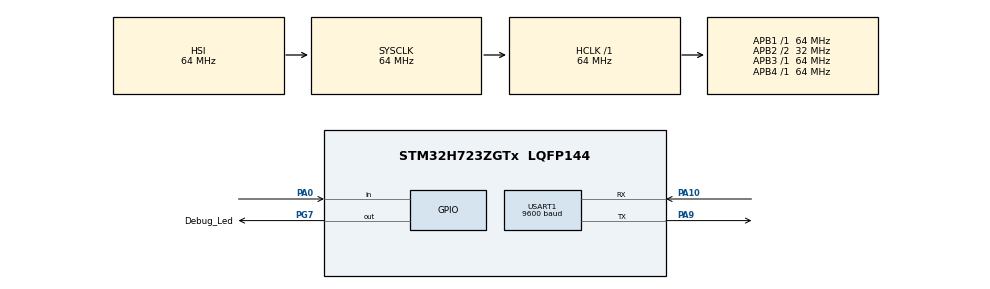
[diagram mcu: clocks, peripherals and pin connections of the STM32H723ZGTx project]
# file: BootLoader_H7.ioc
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CORTEX_M7.default_mode_Activation=1
Mcu.Family=STM32H7
Mcu.Name=STM32H723ZGTx
Mcu.Package=LQFP144
NVIC.PriorityGroup=NVIC_PRIORITYGROUP_4
PA0.GPIO_PuPd=GPIO_PULLUP
PA0.Signal=GPIO_Input
PA10.Mode=Asynchronous
PA10.Signal=USART1_RX
PA13(JTMS/SWDIO).Mode=Serial_Wire
PA13(JTMS/SWDIO).Signal=DEBUG_JTMS-SWDIO
PA14(JTCK/SWCLK).Mode=Serial_Wire
PA14(JTCK/SWCLK).Signal=DEBUG_JTCK-SWCLK
PA9.Mode=Asynchronous
PA9.Signal=USART1_TX
PG7.GPIO_Label=Debug_Led
PG7.Signal=GPIO_Output
ProjectManager.HeapSize=0x200
ProjectManager.StackSize=0x400
ProjectManager.TargetToolchain=CMake
RCC.ADCFreq_Value=129000000
RCC.APB1Freq_Value=64000000
RCC.APB2Freq_Value=32000000
RCC.APB3Freq_Value=64000000
RCC.APB4Freq_Value=64000000
RCC.CortexFreq_Value=64000000
RCC.D2PPRE2=RCC_APB2_DIV2
RCC.HCLKFreq_Value=64000000
RCC.SYSCLKFreq_VALUE=64000000
RCC.USBFreq_Value=129000000
USART1.BaudRate=9600
USART1.VirtualMode-Asynchronous=VM_ASYNC
VP_MEMORYMAP_VS_MEMORYMAP.Mode=CurAppReg
board=custom

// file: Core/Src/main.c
/* USER CODE BEGIN Header */
/**
  ******************************************************************************
  * @file           : main.c
  * @brief          : Main program body
  ******************************************************************************
  * @attention
  *
  * Copyright (c) 2025 STMicroelectronics.
  * All rights reserved.
  *
  * This software is licensed under terms that can be found in the LICENSE file
  * in the root directory of this software component.
  * If no LICENSE file comes with this software, it is provided AS-IS.
  *
  ******************************************************************************
  */
/* USER CODE END Header */
#include "main.h"

UART_HandleTypeDef huart1;

void SystemClock_Config(void);
static void MPU_Config(void);
static void MX_GPIO_Init(void);
static void MX_USART1_UART_Init(void);
/* USER CODE BEGIN PFP */
int _write(int fd, char *ptr, int len) {
	HAL_StatusTypeDef hstatus;

	if (fd == 1 || fd == 2) {
		hstatus = HAL_UART_Transmit(&huart1, (uint8_t*) ptr, len,HAL_MAX_DELAY);
		if (hstatus == HAL_OK)
			return len;
		else
			return -1;
	}
	return -1;
}
/* USER CODE END PFP */

/* USER CODE BEGIN 0 */
#define ADDR_APP_PROGRAM 0x8000000
typedef void (*pFunction)(void);

void app(){
  HAL_RCC_DeInit();
  HAL_DeInit();
  // SCB->SHCSR &= ~(SCB_SHCSR_BUSFAULTENA_Msk |
  //                 SCB_SHCSR_USGFAULTENA_Msk |
  //                 SCB_SHCSR_MEMFAULTENA_Msk );
  __set_MSP(*(__IO uint32_t*)ADDR_APP_PROGRAM);
  pFunction RS_handler = (pFunction) (*(__IO uint32_t*) (ADDR_APP_PROGRAM + 4));
  RS_handler();
}
/* USER CODE END 0 */

int main(void)
{

  /* MPU Configuration--------------------------------------------------------*/
  MPU_Config();

  /* MCU Configuration--------------------------------------------------------*/

  /* Reset of all peripherals, Initializes the Flash interface and the Systick. */
  HAL_Init();

  /* Configure the system clock */
  SystemClock_Config();

  /* Initialize all configured peripherals */
  MX_GPIO_Init();
  MX_USART1_UART_Init();

  /* Infinite loop */
  /* USER CODE BEGIN WHILE */
  uint32_t now = 0; uint32_t next_tick = 1000;
  while (1)
  {
    now = uwTick;
    if(HAL_GPIO_ReadPin(GPIOA,GPIO_PIN_0) == 0){
      app();
    }
    //HAL_UART_Transmit(&huart2, str, 20,HAL_MAX_DELAY);
    if(now > next_tick){
      printf("\n\n\n-----------\nAplication\n");
      next_tick += 1000;
    }
    /* USER CODE END WHILE */

  }
}

void SystemClock_Config(void)
{
  RCC_OscInitTypeDef RCC_OscInitStruct = {0};
  RCC_ClkInitTypeDef RCC_ClkInitStruct = {0};

  /** Supply configuration update enable
  */
  HAL_PWREx_ConfigSupply(PWR_LDO_SUPPLY);

  /** Configure the main internal regulator output voltage
  */
  __HAL_PWR_VOLTAGESCALING_CONFIG(PWR_REGULATOR_VOLTAGE_SCALE3);

  while(!__HAL_PWR_GET_FLAG(PWR_FLAG_VOSRDY)) {}

  /** Initializes the RCC Oscillators according to the specified parameters
  * in the RCC_OscInitTypeDef structure.
  */
  RCC_OscInitStruct.OscillatorType = RCC_OSCILLATORTYPE_HSI;
  RCC_OscInitStruct.HSIState = RCC_HSI_DIV1;
  RCC_OscInitStruct.HSICalibrationValue = 64;
  RCC_OscInitStruct.PLL.PLLState = RCC_PLL_NONE;
  if (HAL_RCC_OscConfig(&RCC_OscInitStruct) != HAL_OK)
  {
    Error_Handler();
  }

  /** Initializes the CPU, AHB and APB buses clocks
  */
  RCC_ClkInitStruct.ClockType = RCC_CLOCKTYPE_HCLK|RCC_CLOCKTYPE_SYSCLK
                              |RCC_CLOCKTYPE_PCLK1|RCC_CLOCKTYPE_PCLK2
                              |RCC_CLOCKTYPE_D3PCLK1|RCC_CLOCKTYPE_D1PCLK1;
  RCC_ClkInitStruct.SYSCLKSource = RCC_SYSCLKSOURCE_HSI;
  RCC_ClkInitStruct.SYSCLKDivider = RCC_SYSCLK_DIV1;
  RCC_ClkInitStruct.AHBCLKDivider = RCC_HCLK_DIV1;
  RCC_ClkInitStruct.APB3CLKDivider = RCC_APB3_DIV1;
  RCC_ClkInitStruct.APB1CLKDivider = RCC_APB1_DIV1;
  RCC_ClkInitStruct.APB2CLKDivider = RCC_APB2_DIV2;
  RCC_ClkInitStruct.APB4CLKDivider = RCC_APB4_DIV1;

  if (HAL_RCC_ClockConfig(&RCC_ClkInitStruct, FLASH_LATENCY_1) != HAL_OK)
  {
    Error_Handler();
  }
}

static void MX_USART1_UART_Init(void)
{

  huart1.Instance = USART1;
  huart1.Init.BaudRate = 9600;
  huart1.Init.WordLength = UART_WORDLENGTH_8B;
  huart1.Init.StopBits = UART_STOPBITS_1;
  huart1.Init.Parity = UART_PARITY_NONE;
  huart1.Init.Mode = UART_MODE_TX_RX;
  huart1.Init.HwFlowCtl = UART_HWCONTROL_NONE;
  huart1.Init.OverSampling = UART_OVERSAMPLING_16;
  huart1.Init.OneBitSampling = UART_ONE_BIT_SAMPLE_DISABLE;
  huart1.Init.ClockPrescaler = UART_PRESCALER_DIV1;
  huart1.AdvancedInit.AdvFeatureInit = UART_ADVFEATURE_NO_INIT;
  if (HAL_UART_Init(&huart1) != HAL_OK)
  {
    Error_Handler();
  }
  if (HAL_UARTEx_SetTxFifoThreshold(&huart1, UART_TXFIFO_THRESHOLD_1_8) != HAL_OK)
  {
    Error_Handler();
  }
  if (HAL_UARTEx_SetRxFifoThreshold(&huart1, UART_RXFIFO_THRESHOLD_1_8) != HAL_OK)
  {
    Error_Handler();
  }
  if (HAL_UARTEx_DisableFifoMode(&huart1) != HAL_OK)
  {
    Error_Handler();
  }

}

static void MX_GPIO_Init(void)
{
  GPIO_InitTypeDef GPIO_InitStruct = {0};

  /* GPIO Ports Clock Enable */
  __HAL_RCC_GPIOA_CLK_ENABLE();
  __HAL_RCC_GPIOG_CLK_ENABLE();

  /*Configure GPIO pin Output Level */
  HAL_GPIO_WritePin(Debug_Led_GPIO_Port, Debug_Led_Pin, GPIO_PIN_RESET);

  /*Configure GPIO pin : PA0 */
  GPIO_InitStruct.Pin = GPIO_PIN_0;
  GPIO_InitStruct.Mode = GPIO_MODE_INPUT;
  GPIO_InitStruct.Pull = GPIO_PULLUP;
  HAL_GPIO_Init(GPIOA, &GPIO_InitStruct);

  /*Configure GPIO pin : Debug_Led_Pin */
  GPIO_InitStruct.Pin = Debug_Led_Pin;
  GPIO_InitStruct.Mode = GPIO_MODE_OUTPUT_PP;
  GPIO_InitStruct.Pull = GPIO_NOPULL;
  GPIO_InitStruct.Speed = GPIO_SPEED_FREQ_LOW;
  HAL_GPIO_Init(Debug_Led_GPIO_Port, &GPIO_InitStruct);

}

 /* MPU Configuration */

void MPU_Config(void)
{
  MPU_Region_InitTypeDef MPU_InitStruct = {0};

  /* Disables the MPU */
  HAL_MPU_Disable();

  /** Initializes and configures the Region and the memory to be protected
  */
  MPU_InitStruct.Enable = MPU_REGION_ENABLE;
  MPU_InitStruct.Number = MPU_REGION_NUMBER0;
  MPU_InitStruct.BaseAddress = 0x0;
  MPU_InitStruct.Size = MPU_REGION_SIZE_4GB;
  MPU_InitStruct.SubRegionDisable = 0x87;
  MPU_InitStruct.TypeExtField = MPU_TEX_LEVEL0;
  MPU_InitStruct.AccessPermission = MPU_REGION_NO_ACCESS;
  MPU_InitStruct.DisableExec = MPU_INSTRUCTION_ACCESS_DISABLE;
  MPU_InitStruct.IsShareable = MPU_ACCESS_SHAREABLE;
  MPU_InitStruct.IsCacheable = MPU_ACCESS_NOT_CACHEABLE;
  MPU_InitStruct.IsBufferable = MPU_ACCESS_NOT_BUFFERABLE;

  HAL_MPU_ConfigRegion(&MPU_InitStruct);
  /* Enables the MPU */
  HAL_MPU_Enable(MPU_PRIVILEGED_DEFAULT);

}

void Error_Handler(void)
{
  __disable_irq();
  while (1)
  {
  }
}
